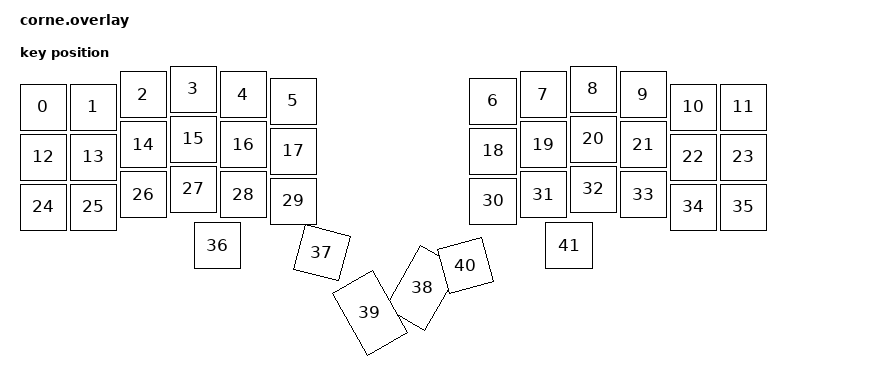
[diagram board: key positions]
/*
 * Physical layout overlay for standard 42-key Corne
 * Enables ZMK Studio support by defining key positions.
 *
 * Coordinates derived from config/corne.json (default_transform).
 * key_physical_attrs format: <width height x y rot rx ry>
 * All values in centi-units (1 key = 100).
 */

#include <physical_layouts.dtsi>

/ {
    chosen {
        zmk,physical-layout = &corne_physical_layout;
    };

    corne_physical_layout: corne_physical_layout {
        compatible = "zmk,physical-layout";
        display-name = "Corne";

        transform = <&default_transform>;

        keys  //                     w   h    x    y     rot    rx    ry
            // Row 0 - Left
            = <&key_physical_attrs 100 100    0   36       0     0     0>   // Tab
            , <&key_physical_attrs 100 100  100   36       0     0     0>   // Q
            , <&key_physical_attrs 100 100  200   11       0     0     0>   // W
            , <&key_physical_attrs 100 100  300    0       0     0     0>   // E
            , <&key_physical_attrs 100 100  400   11       0     0     0>   // R
            , <&key_physical_attrs 100 100  500   24       0     0     0>   // T
            // Row 0 - Right
            , <&key_physical_attrs 100 100  900   24       0     0     0>   // Y
            , <&key_physical_attrs 100 100 1000   11       0     0     0>   // U
            , <&key_physical_attrs 100 100 1100    0       0     0     0>   // I
            , <&key_physical_attrs 100 100 1200   11       0     0     0>   // O
            , <&key_physical_attrs 100 100 1300   36       0     0     0>   // P
            , <&key_physical_attrs 100 100 1400   36       0     0     0>   // BSPC
            // Row 1 - Left
            , <&key_physical_attrs 100 100    0  136       0     0     0>   // Ctrl
            , <&key_physical_attrs 100 100  100  136       0     0     0>   // A
            , <&key_physical_attrs 100 100  200  111       0     0     0>   // S
            , <&key_physical_attrs 100 100  300  100       0     0     0>   // D (99 -> 100 for clean alignment)
            , <&key_physical_attrs 100 100  400  111       0     0     0>   // F
            , <&key_physical_attrs 100 100  500  124       0     0     0>   // G
            // Row 1 - Right
            , <&key_physical_attrs 100 100  900  124       0     0     0>   // H
            , <&key_physical_attrs 100 100 1000  111       0     0     0>   // J
            , <&key_physical_attrs 100 100 1100  100       0     0     0>   // K (99 -> 100)
            , <&key_physical_attrs 100 100 1200  111       0     0     0>   // L
            , <&key_physical_attrs 100 100 1300  136       0     0     0>   // ;
            , <&key_physical_attrs 100 100 1400  136       0     0     0>   // '
            // Row 2 - Left
            , <&key_physical_attrs 100 100    0  236       0     0     0>   // LShift
            , <&key_physical_attrs 100 100  100  236       0     0     0>   // Z
            , <&key_physical_attrs 100 100  200  211       0     0     0>   // X
            , <&key_physical_attrs 100 100  300  200       0     0     0>   // C (199 -> 200)
            , <&key_physical_attrs 100 100  400  211       0     0     0>   // V
            , <&key_physical_attrs 100 100  500  224       0     0     0>   // B
            // Row 2 - Right
            , <&key_physical_attrs 100 100  900  224       0     0     0>   // N
            , <&key_physical_attrs 100 100 1000  211       0     0     0>   // M
            , <&key_physical_attrs 100 100 1100  200       0     0     0>   // , (199 -> 200)
            , <&key_physical_attrs 100 100 1200  211       0     0     0>   // .
            , <&key_physical_attrs 100 100 1300  236       0     0     0>   // /
            , <&key_physical_attrs 100 100 1400  236       0     0     0>   // Esc
            // Row 3 - Thumbs Left
            , <&key_physical_attrs 100 100  348  313       0     0     0>   // GUI
            , <&key_physical_attrs 100 100  448  313    1500   498   788>   // LWR (15 deg)
            , <&key_physical_attrs 100 150  548  263    3000   498   788>   // SPC (30 deg, 1.5u tall)
            // Row 3 - Thumbs Right
            , <&key_physical_attrs 100 150  852  263 (-3000)  1102   788>   // ENT (-30 deg, 1.5u tall)
            , <&key_physical_attrs 100 100  952  313 (-1500)  1102   788>   // RSE (-15 deg)
            , <&key_physical_attrs 100 100 1052  313       0     0     0>   // ALT
            ;
    };
};
